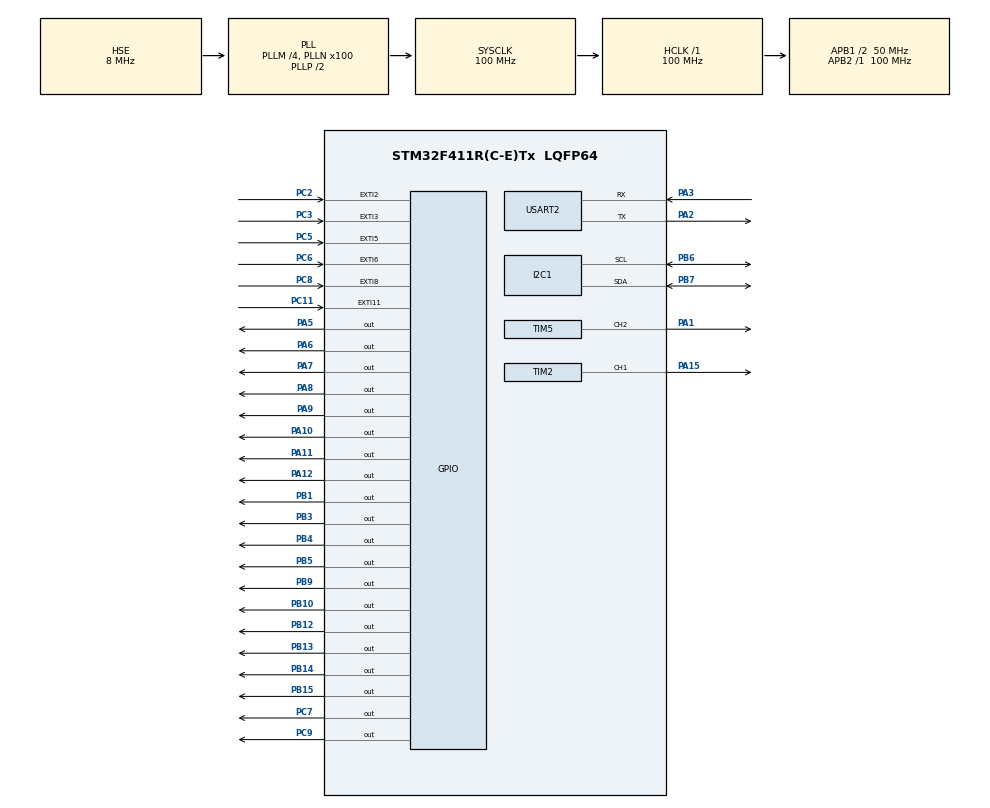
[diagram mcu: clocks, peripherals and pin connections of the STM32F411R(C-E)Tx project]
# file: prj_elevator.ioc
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Mcu.Family=STM32F4
Mcu.Name=STM32F411R(C-E)Tx
Mcu.Package=LQFP64
NVIC.EXTI15_10_IRQn=true\:0\:0\:false\:false\:true\:true\:true\:true
NVIC.EXTI2_IRQn=true\:0\:0\:false\:false\:true\:true\:true\:true
NVIC.EXTI3_IRQn=true\:0\:0\:false\:false\:true\:true\:true\:true
NVIC.EXTI9_5_IRQn=true\:0\:0\:false\:false\:true\:true\:true\:true
NVIC.PriorityGroup=NVIC_PRIORITYGROUP_4
NVIC.TIM1_UP_TIM10_IRQn=true\:0\:0\:false\:false\:true\:true\:true\:true
NVIC.TIM3_IRQn=true\:0\:0\:false\:false\:true\:true\:true\:true
PA1.Signal=S_TIM5_CH2
PA10.Signal=GPIO_Output
PA11.Signal=GPIO_Output
PA12.Signal=GPIO_Output
PA13.Mode=Serial_Wire
PA13.Signal=SYS_JTMS-SWDIO
PA14.Mode=Serial_Wire
PA14.Signal=SYS_JTCK-SWCLK
PA15.Signal=S_TIM2_CH1_ETR
PA2.Mode=Asynchronous
PA2.Signal=USART2_TX
PA3.Mode=Asynchronous
PA3.Signal=USART2_RX
PA5.Signal=GPIO_Output
PA6.Signal=GPIO_Output
PA7.Signal=GPIO_Output
PA8.GPIO_Speed=GPIO_SPEED_FREQ_LOW
PA8.Signal=GPIO_Output
PA9.Signal=GPIO_Output
PB1.Signal=GPIO_Output
PB10.GPIO_Speed=GPIO_SPEED_FREQ_LOW
PB10.Signal=GPIO_Output
PB12.Signal=GPIO_Output
PB13.Signal=GPIO_Output
PB14.Signal=GPIO_Output
PB15.Signal=GPIO_Output
PB3.Signal=GPIO_Output
PB4.GPIO_Speed=GPIO_SPEED_FREQ_LOW
PB4.Signal=GPIO_Output
PB5.GPIO_Speed=GPIO_SPEED_FREQ_LOW
PB5.Signal=GPIO_Output
PB6.Mode=I2C
PB6.Signal=I2C1_SCL
PB7.Mode=I2C
PB7.Signal=I2C1_SDA
PB9.Signal=GPIO_Output
PC11.GPIO_ModeDefaultEXTI=GPIO_MODE_IT_FALLING
PC11.Signal=GPXTI11
PC2.Signal=GPXTI2
PC3.Signal=GPXTI3
PC5.GPIO_ModeDefaultEXTI=GPIO_MODE_IT_RISING
PC5.Signal=GPXTI5
PC6.GPIO_ModeDefaultEXTI=GPIO_MODE_IT_RISING
PC6.Signal=GPXTI6
PC7.Signal=GPIO_Output
PC8.GPIO_ModeDefaultEXTI=GPIO_MODE_IT_RISING
PC8.Signal=GPXTI8
PC9.Signal=GPIO_Output
PH0\ -\ OSC_IN.Mode=HSE-External-Oscillator
PH0\ -\ OSC_IN.Signal=RCC_OSC_IN
PH1\ -\ OSC_OUT.Mode=HSE-External-Oscillator
PH1\ -\ OSC_OUT.Signal=RCC_OSC_OUT
ProjectManager.HeapSize=0x200
ProjectManager.StackSize=0x400
ProjectManager.TargetToolchain=STM32CubeIDE
RCC.48MHZClocksFreq_Value=50000000
RCC.AHBFreq_Value=100000000
RCC.APB1CLKDivider=RCC_HCLK_DIV2
RCC.APB1Freq_Value=50000000
RCC.APB1TimFreq_Value=100000000
RCC.APB2Freq_Value=100000000
RCC.APB2TimFreq_Value=100000000
RCC.CortexFreq_Value=100000000
RCC.HCLKFreq_Value=100000000
RCC.HSE_VALUE=8000000
RCC.HSI_VALUE=16000000
RCC.LSE_VALUE=32768
RCC.PLLM=4
RCC.PLLN=100
RCC.PLLSourceVirtual=RCC_PLLSOURCE_HSE
RCC.SYSCLKFreq_VALUE=100000000
RCC.SYSCLKSource=RCC_SYSCLKSOURCE_PLLCLK
RCC.VCOOutputFreq_Value=200000000
SH.S_TIM2_CH1_ETR.0=TIM2_CH1,PWM Generation1 CH1
SH.S_TIM5_CH2.0=TIM5_CH2,PWM Generation2 CH2
TIM10.Prescaler=100-1
TIM11.Prescaler=100-1
TIM2.Channel-PWM\ Generation1\ CH1=TIM_CHANNEL_1
TIM2.Period=1000-1
TIM2.Prescaler=2000-1
TIM3.Period=10000-1
TIM3.Prescaler=10000-1
TIM5.Channel-PWM\ Generation2\ CH2=TIM_CHANNEL_2
TIM5.Period=389-1
TIM5.Prescaler=392-1
USART2.VirtualMode=VM_ASYNC
VP_TIM10_VS_ClockSourceINT.Mode=Enable_Timer
VP_TIM11_VS_ClockSourceINT.Mode=Enable_Timer
VP_TIM2_VS_ClockSourceINT.Mode=Internal
VP_TIM3_VS_ClockSourceINT.Mode=Internal
board=custom

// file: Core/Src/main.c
/* USER CODE BEGIN Header */
/**
  ******************************************************************************
  * @file           : main.c
  * @brief          : Main program body
  ******************************************************************************
  * @attention
  *
  * Copyright (c) 2025 STMicroelectronics.
  * All rights reserved.
  *
  * This software is licensed under terms that can be found in the LICENSE file
  * in the root directory of this software component.
  * If no LICENSE file comes with this software, it is provided AS-IS.
  *
  ******************************************************************************
  */
/* USER CODE END Header */
#include "main.h"
#include "i2c.h"
#include "tim.h"
#include "usart.h"
#include "gpio.h"

/* USER CODE BEGIN Includes */
#include "led.h"
#include "fnd.h"
#include "step.h"
#include "lcd.h"
/* USER CODE END Includes */

/* USER CODE BEGIN PV */

//	이 위치에 있는 변수들은 전역 변수이기 때문에 초기값 불필요. 설정하고싶으면 할 수 있음.
int photo_int_1_state;								// 광인터럽트의 상태를 나타내는 플래그 선언, 1층 광인터럽트.
int photo_int_2_state;								// 광인터럽트의 상태를 나타내는 플래그 선언, 2층 광인터럽트.
int photo_int_3_state;								// 광인터럽트의 상태를 나타내는 플래그 선언, 3층 광인터럽트.

int button_1_state;									// 버튼의 상태를 나타내는 플래그 선언, 1층 버튼
int button_2_state;									// 버튼의 상태를 나타내는 플래그 선언, 2층 버튼
int button_3_state;									// 버튼의 상태를 나타내는 플래그 선언, 3층 버튼

int lcdState;										// LCD의 상태를 나타내는 플래그 선언
int doorState;										// 서보 모터의 상태를 나타내는 플래그 선언(문)
int buzzerState;									// 버저의 상태를 나타내는 플래그 선언
/* USER CODE END PV */

void SystemClock_Config(void);
/* USER CODE BEGIN PFP */
void HAL_GPIO_EXTI_Callback(uint16_t GPIO_Pin) {		// 각각 3개의 광인터럽트와 버튼을 외부 인터럽트로 사용, 만약 신호가 들어올 시의 동작 설정하는 부분
	if(GPIO_Pin == GPIO_PIN_8) {			// C8에 연결되어있는 광인터럽트 1번(1층)으로 인터럽트 신호가 들어오면
		photo_int_1_state = 1;				// 광인터럽트 1 플래그를 세우고
		photo_int_2_state = 0;				// 다른 광인터럽트 플래그를 초기화.
		photo_int_3_state = 0;
		buzzerState = 1;					// 버저 플래그를 세움.
	}
	else if(GPIO_Pin == GPIO_PIN_6) {		// C6에 연결되어있는 광인터럽트 2번(2층)으로 인터럽트 신호가 들어오면
		photo_int_1_state = 0;
		photo_int_2_state = 1;				// 광인터럽트 2 플래그를 세우고
		photo_int_3_state = 0;				// 다른 광인터럽트 플래그를 초기화.
		buzzerState = 1;					// 버저 플래그를 세움.
	}
	else if(GPIO_Pin == GPIO_PIN_5) {		// C5에 연결되어있는 광인터럽트 3번(3층)으로 인터럽트 신호가 들어오면
		photo_int_1_state = 0;
		photo_int_2_state = 0;
		photo_int_3_state = 1;				// 광인터럽트 3 플래그를 세우고 다른 광인터럽트 플래그를 초기화.
		buzzerState = 1;					// 버저 플래그를 세움.
	}
	else if(GPIO_Pin == GPIO_PIN_11) {		// C11에 연결되어 있는 버튼 1번(1층 버튼)으로 인터럽트 신호가 들어오면
		button_1_state = 1;					// 1번 버튼 플래그를 세우고 다른 버튼 플래그를 초기화.
		button_2_state = 0;
		button_3_state = 0;
		lcdState = 1;						// LCD 플래그를 세움.
	}
	else if(GPIO_Pin == GPIO_PIN_2) {		// C2에 연결되어 있는 버튼 2번(2층 버튼)으로 인터럽트 신호가 들어오면
		button_1_state = 0;
		button_2_state = 1;					// 2번 버튼 플래그를 세우고 다른 버튼 플래그를 초기화.
		button_3_state = 0;
		lcdState = 1;						// LCD 플래그를 세움.
	}
	else if(GPIO_Pin == GPIO_PIN_3) {		// C3에 연결되어 있는 버튼 3번(3층 버튼)으로 인터럽트 신호가 들어오면
		button_1_state = 0;
		button_2_state = 0;
		button_3_state = 1;					// 3번 버튼 플래그를 세우고 다른 버튼 플래그를 초기화.
		lcdState = 1;						// LCD 플래그를 세움.
	}
}

/* USER CODE END PFP */

int main(void)
{

  /* MCU Configuration--------------------------------------------------------*/

  /* Reset of all peripherals, Initializes the Flash interface and the Systick. */
  HAL_Init();

  /* Configure the system clock */
  SystemClock_Config();

  /* Initialize all configured peripherals */
  MX_GPIO_Init();
  MX_USART2_UART_Init();
  MX_TIM11_Init();
  MX_I2C1_Init();
  MX_TIM10_Init();
  MX_TIM2_Init();
  MX_TIM3_Init();
  MX_TIM5_Init();
  /* USER CODE BEGIN 2 */

  // 모든 타이머는 여기서 init / start 함수를 실행한 순간부터 counting 하기 시작함.
  HAL_TIM_Base_Start(&htim11);					// delay_us() 함수를 위한 11번 타이머 시작해줌
  HAL_TIM_Base_Start_IT(&htim10);				// 스텝모터 사용을 위한 10번 타이머 인터럽트 시작해줌.(for문이나 delay 등 동작시 해당 동작만을 위해 mpu의 연산을 점유하는것을 방지)
  HAL_TIM_PWM_Start(&htim2, TIM_CHANNEL_1);		// 서보모터 사용을 위한 2번 타이머 PWM을 시작해줌.
  HAL_TIM_PWM_Start(&htim5, TIM_CHANNEL_2);		// 버저 사용을 위한 5번 타이머 PWM을 시작해줌.
  i2cLcd_Init();								// LCD를 사용하기 위해 i2c 통신 활성화.

  while(1) {									// 광인터럽트 사이에 껴서 어떠한 인터럽트 신호도 받지 못하는 상황을 방지하기 위해 초기 동작 선언.
	  	  	  	  	  	  	  	  	  	  	  	// while(1)이기 때문에 항상 참, 내부 동작을 무한 반복함.
	  justTurn();								// 스텝모터를 푸는 방향으로 계속 돌게 해줌(함수명에 F3을 눌러 함수의 동작을 보고 왜 모터가 끝없이 도는지 생각해 볼 것.)
	  if(photo_int_1_state == 1) {				// 만약 스텝모터가 계속 풀리면서 내려가다가 1번 포토인터럽트(1층)에 신호가 들어오면
		  fullStop();							// 스텝모터 정지
		  button_1_state = 1;					// 버튼 1 플래그를 세움
		  lcdState = 1;							// LCD 플래그를 세움
		  break;								// break로 현재 속해있는 while(1) 무한반복문을 벗어남.
		  	  	  	  	  	  	  	  	  	  	// break로 벗어나면 그 다음에 어떤 코드로 넘어가는지 C언어의 절차 지향성을 바탕으로 생각해 볼 것.
	  }
	  else if(photo_int_2_state == 1) {			// 만약 스텝모터가 계속 풀리면서 내려가다가 2번 포토인터럽트(2층)에 신호가 들어오면
		  fullStop();							// 스텝모터 정지
		  button_2_state = 1;					// 버튼 2 플래그를 세움
		  lcdState = 1;							// LCD 플래그를 세움
		  break;								// break로 현재 속해있는 while(1) 무한반복문을 벗어남.
	  }
	  else if(photo_int_3_state == 1) {			// 만약 스텝모터가 계속 풀리면서 내려가다가 3번 포토인터럽트(3층)에 신호가 들어오면
		  fullStop();							// 스텝모터 정지
		  button_3_state = 1;					// 버튼 3 플래그를 세움
		  lcdState = 1;							// LCD 플래그를 세움
		  break;								// break로 현재 속해있는 while(1) 무한반복문을 벗어남.
	  }
  }
  /* USER CODE END 2 */

  /* Infinite loop */
  /* USER CODE BEGIN WHILE */
  while (1)										// 이게 진짜 메인 구조임. 위의 while문에서 break로 빠져나오면 이곳의 코드가 돌기 시작함.
  {
	// -----------------------------------------------1층, 2층, 3층에 멈춰있는 구간---------------------------------------------

	  if(photo_int_1_state == 1 && button_1_state == 1) {		// 1번 광인터럽트 플래그와 1번 버튼 플래그가 활성화 되어 있으면
		if(lcdState == 1) {										// 1번 LCD 플래그가 세워져 있는지 검사한 후 1이면
			lcdCommand(CLEAR_DISPLAY);							// LCD 클리어(이전에 띄워져 있는 글자를 먼저 지워야 함)
			delay_us(2000);										// Datasheet에서 권장하는 딜레이 시간을 준 후
			moveCursor(0, 4);									// LCD 윗줄, 좌에서 4칸 띄운 후 문구 작성(중간정렬을 위해 4칸 띄워줌)
			lcdString("Welcome");								// Welcome이라는 문자열 표시
			moveCursor(1, 3);									// LCD 아랫줄, 좌에서 3칸 띄운 후 문구 작성(중간정렬을 위해 4칸 띄워줌)
			lcdString("1st Floor");								// 이곳이 1층이라는 문자열을 표시해줌
			lcdState = 0;										/* LCD 상태를 표시해주는 플래그를 0으로 초기화 시켜줌
																	왜 초기화 해주는지, 초기화를 해주지 않으면 어떻게 움직이는지??
																 	 while문의 동작과 lcd의 데이터시트를 참고하며 생각해 볼 것.
																 */
		}
		seg_number_CA(1);										// FND에 숫자 1을 띄워줌
		fullStop();												// 서보모터 정지
		ledOn(7);
		if(buzzerState == 1) {									// 버저 플래그가 1인지 검사한 후 1이면
			TIM5->CCR2 = 194;									// PWM신호를 듀티비 50%로 출력해줌
			delay_us(65000);
			delay_us(65000);
			delay_us(65000);
			delay_us(65000);									// 대략 0.25초정도 버저 울림을 지속하다가
			TIM5->CCR2 = 0;										// PWM 신호를 듀티비 0%로 출력해준 후
			buzzerState = 0;									// 버저 플래그를 0으로 초기화
																// 듀티비 50%와 0%의 의미는 무엇인지, 플래그를 초기화 하는 이유와 초기화 해주지 않으면 어떻게 동작하는지??
																// 스피커의 작동 원리와 while문의 동작을 참고하며 생각해 볼 것.
		}
		if(doorState == 0) {									// 서보모터 플래그를 검사 후 만약 0이면
			delay_us(65000);									// 65ms만큼 기다린 후
			TIM2->CCR1 = 30;									// 서보모터를 돌리는 PWM신호의 듀티비를 바꾸어 문이 열리는 방향으로 돌림
			doorState = 1;										// 서보모터 플래그를 1로 셋팅해 줌
																// 서보모터 플래그를 1로 바꾸어 주는 이유, 바꾸지 않으면 어떻게 동작하는지???
																// while문의 동작과 딜레이의 동작 원리를 참고하며 생각해 볼 것.
		}
	}
	else if(photo_int_2_state == 1 && button_2_state == 1) {	// 2번 광인터럽트와 2번 버튼의 플래그가 활성화 되어 있으면
		if(lcdState == 1) {										// 위에 동작과 거의 유사함. 위의 if문을 참고하고 생각해 볼 것.
			lcdCommand(CLEAR_DISPLAY);
			delay_us(2000);
			moveCursor(0, 4);
			lcdString("Welcome");
			moveCursor(1, 3);
			lcdString("2nd Floor");
			lcdState = 0;
		}
		seg_number_CA(2);
		fullStop();
		ledOn(7);
		if(buzzerState == 1) {
			TIM5->CCR2 = 194;
			delay_us(65000);
			delay_us(65000);
			delay_us(65000);
			delay_us(65000);
			TIM5->CCR2 = 0;
			buzzerState = 0;
		}
		if(doorState == 0) {
			delay_us(65000);
			TIM2->CCR1 = 30;
			doorState = 1;
		}
	}
	else if(photo_int_3_state == 1 && button_3_state == 1) {	// 3번 광인터럽트와 3번 버튼의 플래그가 활성화 되어 있으면
		if(lcdState == 1) {										// 위에 동작과 거의 유사함. 위의 if문을 참고하고 생각해 볼 것.
			lcdCommand(CLEAR_DISPLAY);
			delay_us(2000);
			moveCursor(0, 4);
			lcdString("Welcome");
			moveCursor(1, 3);
			lcdString("3rd Floor");
			lcdState = 0;
		}
		seg_number_CA(3);
		fullStop();
		ledOn(7);
		if(buzzerState == 1) {
			TIM5->CCR2 = 194;
			delay_us(65000);
			delay_us(65000);
			delay_us(65000);
			delay_us(65000);
			TIM5->CCR2 = 0;
			buzzerState = 0;
		}
		if(doorState == 0) {
			delay_us(65000);
			TIM2->CCR1 = 30;
			doorState = 1;
		}
	}
	// --------------------------------------------------1층, 2층, 3층에 멈춰있는 구간-----------------------------------------------------

	// --------------------------------------------------1층에서 2,3층 올라가는 구간-------------------------------------------------------
	else if(photo_int_1_state == 1 && button_2_state == 1) {		// 1번 광인터럽트 플래그와 2번 버튼 플래그가 활성화 되어 있으면
		if(doorState == 1) {										// 서보모터 플래그가 1인지 검사 후 1이면
			TIM2->CCR1 = 125;										// 문이 닫히는 방향으로 서보모터를 돌림
			doorState = 0;											// 서보모터 플래그를 0으로 초기화
			delay_us(65000);
		}
		if(lcdState == 1) {											// LCD 플래그가 1이면
			lcdCommand(CLEAR_DISPLAY);								// LCD 초기화 후
			delay_us(2000);
			moveCursor(0, 2);
			lcdString("Please Wait");								// 기다리라는 문구를 윗줄에 표시
			moveCursor(1, 3);
			lcdString("Ascending");									// 올라가고 있다는 문구를 아랫줄에 표시
		}
		seg_number_CA(1);											// FND에 숫자 1을 표시
		ledRS(7);													// LED가 위로 올라가는 방향으로 흐르며 켜짐
		rotateDegrees(300, DIR_CW, 0, &htim10);						// 스텝모터를 위로 올라갈수 있게 감아줌(문이 닫힌 후 출발할 수 있게 서보모터 동작을 스텝모터 동작보다 위에 코드 작성)

	}
	else if(photo_int_1_state == 1 && button_3_state == 1) {		// 1번 광인터럽트 플래그와 3번 버튼 플래그가 활성화 되어 있으면
		if(doorState == 1) {										// 위의 동작과 동일, 위 if문 참고할 것.
			TIM2->CCR1 = 125;
			doorState = 0;
			delay_us(65000);
		}
		if(lcdState == 1) {
			lcdCommand(CLEAR_DISPLAY);
			delay_us(2000);
			moveCursor(0, 2);
			lcdString("Please Wait");
			moveCursor(1, 3);
			lcdString("Ascending");
		}
		seg_number_CA(1);
		ledRS(7);
		rotateDegrees(300, DIR_CW, 0, &htim10);
	}
	// -----------------------------1층에서 2,3층 올라가는 구간-------------------------------------------

	// -----------------------------2층에서 1층 내려가거나/3층 올라가는 구간-------------------------------------------
	else if(photo_int_2_state == 1 && button_1_state == 1) {		// 2번 광인터럽트 플래그와 1번 버튼 플래그가 세워져 있으면
		if(doorState == 1) {										// 서보모터 플래그가 세워져 있으면
			TIM2->CCR1 = 125;										// 문이 닫히는 방향으로 서보모터 돌림
			doorState = 0;											// 서보모터 플래그 초기화
			delay_us(65000);
		}
		if(lcdState == 1) {											// LCD 플래그가 1인지 검사 후 맞으면
			lcdCommand(CLEAR_DISPLAY);								// LCD 화면을 지우고
			delay_us(2000);
			moveCursor(0, 2);
			lcdString("Please Wait");								// 윗줄에 중앙정렬후 기다리라는 문구 표시
			moveCursor(1, 2);
			lcdString("Descending");								// 아랫줄에 중앙정렬 후 내려간다는 문구 표시
		}
		seg_number_CA(2);											// FND에 숫자 2 표시
		ledLS(7);													// LED 아래로 흐르게 표시
		rotateDegrees(300, DIR_CCW, 0, &htim10);					// 스텝모터 풀어서 밑으로 내려가게 함
	}
	else if(photo_int_2_state == 1 && button_3_state == 1) {		// 2번 광인터럽트 플래그와 3번 버튼 플래그가 세워져 있으면
		if(doorState == 1) {										// 서보모터 플래그가 세워져 있는지 검사 후 세워져 있으면
			TIM2->CCR1 = 125;										// 문이 닫히는 방향으로 서보모터 돌림
			doorState = 0;											// 서보모터 플래그 초기화
			delay_us(65000);
		}
		if(lcdState == 1) {											// LCD 플래그가 1인지 검사 후 맞으면
			lcdCommand(CLEAR_DISPLAY);								// LCD 화면을 지우고
			delay_us(2000);
			moveCursor(0, 2);
			lcdString("Please Wait");								// 윗줄에 중앙정렬 후 기다리라는 문구 표시
			moveCursor(1, 3);
			lcdString("Ascending");									// 아랫줄에 중앙정렬 후 올라간다는 문구 표시
		}
		seg_number_CA(2);											// FND에 숫자 2 표시
		ledRS(7);													// LED 위로 흐르게 표시
		rotateDegrees(300, DIR_CW, 0, &htim10);						// 스텝모터 감아서 위로 올라가게 함
	}
	// -----------------------------2층에서 1층 내려가거나/3층 올라가는 구간-------------------------------------------

	// -----------------------------3층에서 1,2층 내려가는 구간-------------------------------------------
	else if(photo_int_3_state == 1 && button_1_state == 1) {		// 3번 광인터럽트 플래그와 1번 버튼 플래그가 세워져 있으면
		if(doorState == 1) {										// 서보모터 플래그가 1인지 검사 후 맞으면
			TIM2->CCR1 = 125;										// 서보모터 문 닫히는 방향으로 돌림
			doorState = 0;											// 서보모터 플래그 초기화
			delay_us(65000);
		}
		if(lcdState == 1) {											// LCD 플래그가 1인지 검사후 맞으면
			lcdCommand(CLEAR_DISPLAY);								// LCD 화면 지운 후
			delay_us(2000);
			moveCursor(0, 2);
			lcdString("Please Wait");								// 윗줄 중앙정렬 후 기다리라는 문구 표시
			moveCursor(1, 2);
			lcdString("Descending");								// 아랫줄 중앙정렬 후 내려간다는 문구 표시
		}
		seg_number_CA(3);											// FND에 숫자 3 표시
		ledLS(7);													// LED 아래로 흐르게 표시
		rotateDegrees(300, DIR_CCW, 0, &htim10);					// 스텝모터 풀어서 아래로 내려가게 돌림
	}
	else if(photo_int_3_state == 1 && button_2_state == 1) {		// 3번 광인터럽트 플래그와 2번 버튼 플래그가 세워져 있으면
		if(doorState == 1) {										// 위의 if문과 거의 동일, 위에 구문들 참조.
			TIM2->CCR1 = 125;
			doorState = 0;
			delay_us(65000);
		}
		if(lcdState == 1) {
			lcdCommand(CLEAR_DISPLAY);
			delay_us(2000);
			moveCursor(0, 2);
			lcdString("Please Wait");
			moveCursor(1, 2);
			lcdString("Descending");
		}
		seg_number_CA(3);
		ledLS(7);
		rotateDegrees(300, DIR_CCW, 0, &htim10);
	}
	// -----------------------------3층에서 1,2층 내려가는 구간-------------------------------------------

    /* USER CODE END WHILE */

  }
}

void SystemClock_Config(void)
{
  RCC_OscInitTypeDef RCC_OscInitStruct = {0};
  RCC_ClkInitTypeDef RCC_ClkInitStruct = {0};

  /** Configure the main internal regulator output voltage
  */
  __HAL_RCC_PWR_CLK_ENABLE();
  __HAL_PWR_VOLTAGESCALING_CONFIG(PWR_REGULATOR_VOLTAGE_SCALE1);

  /** Initializes the RCC Oscillators according to the specified parameters
  * in the RCC_OscInitTypeDef structure.
  */
  RCC_OscInitStruct.OscillatorType = RCC_OSCILLATORTYPE_HSE;
  RCC_OscInitStruct.HSEState = RCC_HSE_ON;
  RCC_OscInitStruct.PLL.PLLState = RCC_PLL_ON;
  RCC_OscInitStruct.PLL.PLLSource = RCC_PLLSOURCE_HSE;
  RCC_OscInitStruct.PLL.PLLM = 4;
  RCC_OscInitStruct.PLL.PLLN = 100;
  RCC_OscInitStruct.PLL.PLLP = RCC_PLLP_DIV2;
  RCC_OscInitStruct.PLL.PLLQ = 4;
  if (HAL_RCC_OscConfig(&RCC_OscInitStruct) != HAL_OK)
  {
    Error_Handler();
  }

  /** Initializes the CPU, AHB and APB buses clocks
  */
  RCC_ClkInitStruct.ClockType = RCC_CLOCKTYPE_HCLK|RCC_CLOCKTYPE_SYSCLK
                              |RCC_CLOCKTYPE_PCLK1|RCC_CLOCKTYPE_PCLK2;
  RCC_ClkInitStruct.SYSCLKSource = RCC_SYSCLKSOURCE_PLLCLK;
  RCC_ClkInitStruct.AHBCLKDivider = RCC_SYSCLK_DIV1;
  RCC_ClkInitStruct.APB1CLKDivider = RCC_HCLK_DIV2;
  RCC_ClkInitStruct.APB2CLKDivider = RCC_HCLK_DIV1;

  if (HAL_RCC_ClockConfig(&RCC_ClkInitStruct, FLASH_LATENCY_3) != HAL_OK)
  {
    Error_Handler();
  }
}

void Error_Handler(void)
{
  __disable_irq();
  while (1)
  {
  }
}
